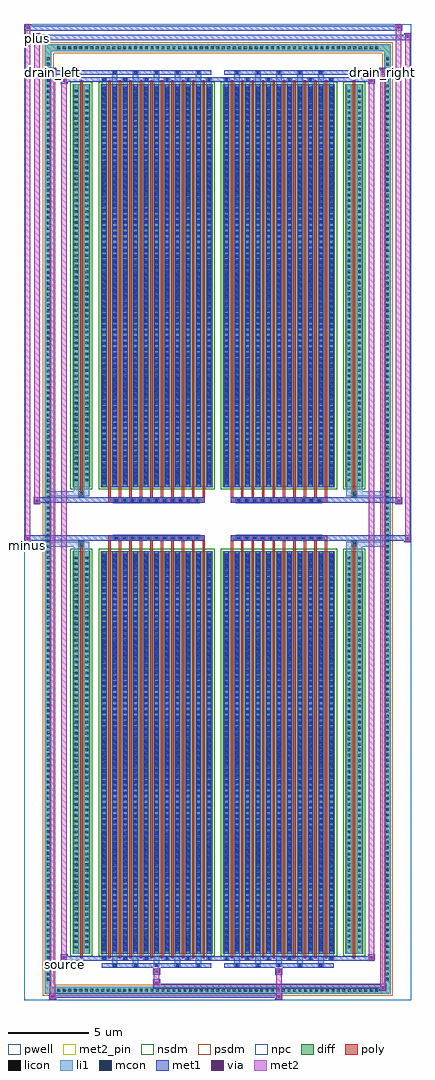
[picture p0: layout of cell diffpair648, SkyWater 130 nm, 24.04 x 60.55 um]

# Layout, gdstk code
import gdstk
lib = gdstk.Library(unit=1e-6, precision=5e-09)
def R(c, l, rs):  # rectangles x0, y0, x1, y1
    for r in rs: c.add(gdstk.rectangle(r[:2], r[2:], *l))
def A(c, l, x, y, w, h, nx, ny, dx, dy):  # array of equal rectangles
    R(c, l, [(x+i*dx, y+j*dy, x+i*dx+w, y+j*dy+h) for i in range(nx) for j in range(ny)])
def P(c, l, *ps):  # polygons
    for p in ps: c.add(gdstk.Polygon(p, *l))
pwell = (64, 44)
diff = (65, 20)
poly = (66, 20)
licon = (66, 44)
li1 = (67, 20)
mcon = (67, 44)
met1 = (68, 20)
via = (68, 44)
met2_pin = (69, 16)
met2 = (69, 20)
nsdm = (93, 44)
psdm = (94, 20)
npc = (95, 20)

diffpair648 = lib.new_cell('diffpair648')
R(diffpair648, pwell, [(-12,-29.84,12,30.71), (-9.32,-28.03,-0.01,-0.805), (0.01,-28.03,9.32,-0.805), (-9.32,0.805,-0.01,28.03), (0.01,0.805,9.32,28.03)])
A(diffpair648, diff, -10.065, -29.44, 0.41, 0.41, 59, 2, 0.34, 58.47)
A(diffpair648, diff, -10.73, -28.765, 0.41, 0.41, 1, 169, 0, 0.34)
A(diffpair648, diff, 10.32, -28.765, 0.41, 0.41, 1, 169, 0, 0.34)
R(diffpair648, diff, [(-10.065,-29.44,10.065,-29.03), (-10.73,-28.765,-10.32,28.765), (10.32,-28.765,10.73,28.765), (-9.01,-26.985,-7.91,-1.985), (-7.27,-26.985,-0.32,-1.985), (0.32,-26.985,7.27,-1.985), (7.91,-26.985,9.01,-1.985), (-9.01,1.985,-7.91,26.985), (-7.27,1.985,-0.32,26.985), (0.32,1.985,7.27,26.985), (7.91,1.985,9.01,26.985), (-10.065,29.03,10.065,29.44)])
P(diffpair648, diff, [(10.73,29.44),(-10.73,29.44),(-10.73,-29.03),(-10.32,-29.03),(-10.32,29.03),(10.32,29.03),(10.32,-29.03),(-10.32,-29.03),(-10.73,-29.03),(-10.73,-29.44),(10.73,-29.44)])
A(diffpair648, poly, -6.795, -27.235, 0.15, 25.5, 10, 2, 0.65, 28.97)
A(diffpair648, poly, 0.795, -27.235, 0.15, 25.5, 10, 2, 0.65, 28.97)
A(diffpair648, poly, -6.795, -1.735, 0.15, 0.4, 10, 2, 0.65, 3.07)
A(diffpair648, poly, 0.795, -1.735, 0.15, 0.4, 10, 2, 0.65, 3.07)
A(diffpair648, poly, -6.46, -1.335, 0.33, 0.33, 11, 2, 0.5, 2.34)
A(diffpair648, poly, 1.13, -1.335, 0.33, 0.33, 11, 2, 0.5, 2.34)
R(diffpair648, poly, [(-8.535,-27.235,-8.385,-1.735), (8.385,-27.235,8.535,-1.735), (-8.625,-1.735,-8.295,-1.405), (-8.625,-1.735,-8.295,-1.405), (8.295,-1.735,8.625,-1.405), (8.295,-1.735,8.625,-1.405), (-6.795,-1.335,-0.795,-1.005), (0.795,-1.335,6.795,-1.005), (-6.795,1.005,-0.795,1.335), (0.795,1.005,6.795,1.335), (-8.625,1.405,-8.295,1.735), (-8.625,1.405,-8.295,1.735), (8.295,1.405,8.625,1.735), (8.295,1.405,8.625,1.735), (-8.535,1.735,-8.385,27.235), (8.385,1.735,8.535,27.235)])
A(diffpair648, licon, -9.945, -29.32, 0.17, 0.17, 59, 2, 0.34, 58.47)
A(diffpair648, licon, -10.61, -28.645, 0.17, 0.17, 1, 169, 0, 0.34)
A(diffpair648, licon, 10.44, -28.645, 0.17, 0.17, 1, 169, 0, 0.34)
A(diffpair648, licon, -8.87, -26.64, 0.17, 0.17, 1, 72, 0, 0.34)
A(diffpair648, licon, -8.22, -26.64, 0.17, 0.17, 1, 72, 0, 0.34)
A(diffpair648, licon, -7.13, -26.64, 0.17, 0.17, 11, 72, 0.65, 0.34)
A(diffpair648, licon, 0.46, -26.64, 0.17, 0.17, 11, 72, 0.65, 0.34)
A(diffpair648, licon, 8.05, -26.64, 0.17, 0.17, 1, 72, 0, 0.34)
A(diffpair648, licon, 8.7, -26.64, 0.17, 0.17, 1, 72, 0, 0.34)
A(diffpair648, licon, -6.38, -1.255, 0.17, 0.17, 11, 2, 0.5, 2.34)
A(diffpair648, licon, 1.21, -1.255, 0.17, 0.17, 11, 2, 0.5, 2.34)
A(diffpair648, licon, -8.87, 2.33, 0.17, 0.17, 1, 72, 0, 0.34)
A(diffpair648, licon, -8.22, 2.33, 0.17, 0.17, 1, 72, 0, 0.34)
A(diffpair648, licon, -7.13, 2.33, 0.17, 0.17, 11, 72, 0.65, 0.34)
A(diffpair648, licon, 0.46, 2.33, 0.17, 0.17, 11, 72, 0.65, 0.34)
A(diffpair648, licon, 8.05, 2.33, 0.17, 0.17, 1, 72, 0, 0.34)
A(diffpair648, licon, 8.7, 2.33, 0.17, 0.17, 1, 72, 0, 0.34)
R(diffpair648, licon, [(-8.545,-1.655,-8.375,-1.485), (8.375,-1.655,8.545,-1.485), (-8.545,1.485,-8.375,1.655), (8.375,1.485,8.545,1.655)])
A(diffpair648, li1, -10.025, -29.4, 0.33, 0.33, 59, 2, 0.34, 58.47)
A(diffpair648, li1, -10.69, -28.725, 0.33, 0.33, 1, 169, 0, 0.34)
A(diffpair648, li1, 10.36, -28.725, 0.33, 0.33, 1, 169, 0, 0.34)
A(diffpair648, li1, -6.56, -27.79, 0.33, 0.805, 5, 2, 1.3, 54.775)
A(diffpair648, li1, -6.48, -27.79, 0.17, 0.17, 5, 2, 1.3, 55.41)
A(diffpair648, li1, 1.03, -27.79, 0.33, 0.805, 5, 2, 1.3, 54.775)
A(diffpair648, li1, 1.11, -27.79, 0.17, 0.17, 5, 2, 1.3, 55.41)
A(diffpair648, li1, -7.21, -27.36, 0.33, 0.375, 6, 2, 1.3, 54.345)
A(diffpair648, li1, -7.13, -27.36, 0.17, 0.17, 6, 2, 1.3, 54.55)
A(diffpair648, li1, 0.38, -27.36, 0.33, 0.375, 6, 2, 1.3, 54.345)
A(diffpair648, li1, 0.46, -27.36, 0.17, 0.17, 6, 2, 1.3, 54.55)
A(diffpair648, li1, -7.21, -26.985, 0.33, 25, 11, 2, 0.65, 28.97)
A(diffpair648, li1, 0.38, -26.985, 0.33, 25, 11, 2, 0.65, 28.97)
A(diffpair648, li1, -7.13, -26.81, 0.17, 0.17, 11, 69, 0.65, 0.36)
A(diffpair648, li1, -7.13, -26.81, 0.17, 24.65, 11, 2, 0.65, 28.97)
A(diffpair648, li1, 0.46, -26.81, 0.17, 0.17, 11, 69, 0.65, 0.36)
A(diffpair648, li1, 0.46, -26.81, 0.17, 24.65, 11, 2, 0.65, 28.97)
A(diffpair648, li1, -8.95, -26.72, 0.33, 0.33, 1, 72, 0, 0.34)
A(diffpair648, li1, -8.3, -26.72, 0.33, 0.33, 1, 72, 0, 0.34)
A(diffpair648, li1, -7.21, -26.72, 0.33, 0.33, 11, 72, 0.65, 0.34)
A(diffpair648, li1, 0.38, -26.72, 0.33, 0.33, 11, 72, 0.65, 0.34)
A(diffpair648, li1, 7.97, -26.72, 0.33, 0.33, 1, 72, 0, 0.34)
A(diffpair648, li1, 8.62, -26.72, 0.33, 0.33, 1, 72, 0, 0.34)
A(diffpair648, li1, -6.46, -1.335, 0.33, 0.33, 11, 2, 0.5, 2.34)
A(diffpair648, li1, 1.13, -1.335, 0.33, 0.33, 11, 2, 0.5, 2.34)
A(diffpair648, li1, -7.13, 2.16, 0.17, 0.17, 11, 69, 0.65, 0.36)
A(diffpair648, li1, 0.46, 2.16, 0.17, 0.17, 11, 69, 0.65, 0.36)
A(diffpair648, li1, -8.95, 2.25, 0.33, 0.33, 1, 72, 0, 0.34)
A(diffpair648, li1, -8.3, 2.25, 0.33, 0.33, 1, 72, 0, 0.34)
A(diffpair648, li1, -7.21, 2.25, 0.33, 0.33, 11, 72, 0.65, 0.34)
A(diffpair648, li1, 0.38, 2.25, 0.33, 0.33, 11, 72, 0.65, 0.34)
A(diffpair648, li1, 7.97, 2.25, 0.33, 0.33, 1, 72, 0, 0.34)
A(diffpair648, li1, 8.62, 2.25, 0.33, 0.33, 1, 72, 0, 0.34)
R(diffpair648, li1, [(-10.73,-29.44,-10.32,-29.03), (-10.73,-29.44,-10.32,-29.03), (-10.32,-29.44,10.32,-29.03), (10.32,-29.44,10.73,-29.03), (10.32,-29.44,10.73,-29.03), (-10.73,-29.03,-10.32,29.03), (10.32,-29.03,10.73,29.03), (-8.95,-26.985,-8.62,-1.985), (-8.3,-26.985,-7.97,-1.985), (7.97,-26.985,8.3,-1.985), (8.62,-26.985,8.95,-1.985), (-8.95,-1.985,-8.62,-1.405), (-8.3,-1.985,-7.97,-1.405), (7.97,-1.985,8.3,-1.405), (8.62,-1.985,8.95,-1.405), (-10.73,-1.735,-8.625,-1.405), (-8.95,-1.735,-8.625,-1.405), (-8.625,-1.735,-8.295,-1.405), (-8.295,-1.735,-7.97,-1.405), (7.97,-1.735,8.295,-1.405), (8.295,-1.735,8.625,-1.405), (8.295,-1.735,10.73,-1.405), (8.625,-1.735,8.95,-1.405), (-10.73,1.405,-8.625,1.735), (-8.95,1.405,-8.625,1.735), (-8.95,1.405,-8.62,1.985), (-8.625,1.405,-8.295,1.735), (-8.3,1.405,-7.97,1.985), (-8.295,1.405,-7.97,1.735), (7.97,1.405,8.295,1.735), (7.97,1.405,8.3,1.985), (8.295,1.405,8.625,1.735), (8.295,1.405,10.73,1.735), (8.62,1.405,8.95,1.985), (8.625,1.405,8.95,1.735), (-8.95,1.985,-8.62,26.985), (-8.3,1.985,-7.97,26.985), (7.97,1.985,8.3,26.985), (8.62,1.985,8.95,26.985), (-10.73,29.03,-10.32,29.44), (-10.73,29.03,-10.32,29.44), (-10.32,29.03,10.32,29.44), (10.32,29.03,10.73,29.44), (10.32,29.03,10.73,29.44)])
A(diffpair648, mcon, -6.48, -27.79, 0.17, 0.17, 5, 2, 1.3, 55.41)
A(diffpair648, mcon, 1.11, -27.79, 0.17, 0.17, 5, 2, 1.3, 55.41)
A(diffpair648, mcon, -7.13, -27.36, 0.17, 0.17, 6, 2, 1.3, 54.55)
A(diffpair648, mcon, 0.46, -27.36, 0.17, 0.17, 6, 2, 1.3, 54.55)
A(diffpair648, mcon, -7.13, -26.81, 0.17, 0.17, 11, 69, 0.65, 0.36)
A(diffpair648, mcon, 0.46, -26.81, 0.17, 0.17, 11, 69, 0.65, 0.36)
A(diffpair648, mcon, -6.38, -1.255, 0.17, 0.17, 11, 2, 0.5, 2.34)
A(diffpair648, mcon, 1.21, -1.255, 0.17, 0.17, 11, 2, 0.5, 2.34)
A(diffpair648, mcon, -7.13, 2.16, 0.17, 0.17, 11, 69, 0.65, 0.36)
A(diffpair648, mcon, 0.46, 2.16, 0.17, 0.17, 11, 69, 0.65, 0.36)
A(diffpair648, met1, -6.54, -27.85, 0.29, 0.29, 5, 2, 1.3, 55.41)
A(diffpair648, met1, 1.05, -27.85, 0.29, 0.29, 5, 2, 1.3, 55.41)
A(diffpair648, met1, -7.19, -27.42, 0.29, 0.29, 6, 2, 1.3, 54.55)
A(diffpair648, met1, 0.4, -27.42, 0.29, 0.29, 6, 2, 1.3, 54.55)
A(diffpair648, met1, -7.19, -26.985, 0.29, 25, 11, 2, 0.65, 28.97)
A(diffpair648, met1, 0.4, -26.985, 0.29, 25, 11, 2, 0.65, 28.97)
A(diffpair648, met1, -7.19, -26.87, 0.29, 0.29, 11, 69, 0.65, 0.36)
A(diffpair648, met1, 0.4, -26.87, 0.29, 0.29, 11, 69, 0.65, 0.36)
A(diffpair648, met1, -6.44, -1.315, 0.29, 0.29, 11, 2, 0.5, 2.34)
A(diffpair648, met1, 1.15, -1.315, 0.29, 0.29, 11, 2, 0.5, 2.34)
A(diffpair648, met1, -7.19, 2.1, 0.29, 0.29, 11, 69, 0.65, 0.36)
A(diffpair648, met1, 0.4, 2.1, 0.29, 0.29, 11, 69, 0.65, 0.36)
R(diffpair648, met1, [(-10.46,-29.84,-10.03,-29.41), (3.58,-29.84,4.01,-29.41), (-10.46,-29.7,4.01,-29.41), (10.03,-29.27,10.46,-28.84), (-4.01,-29.13,10.46,-28.84), (-4.01,-28.99,-3.58,-28.56), (-4.01,-28.28,-3.58,-27.85), (3.58,-28.28,4.01,-27.85), (-7.19,-27.85,-0.4,-27.56), (0.4,-27.85,7.19,-27.56), (-9.75,-27.42,-9.32,-26.99), (-9.75,-27.42,-7.19,-27.13), (-7.19,-27.42,-0.4,-27.13), (-0.4,-27.42,0.4,-27.13), (0.4,-27.42,7.19,-27.13), (7.19,-27.42,9.75,-27.13), (9.32,-27.42,9.75,-26.99), (-12,-1.435,-11.57,-1.005), (11.57,-1.435,12,-1.005), (-12,-1.335,-0.795,-1.005), (-6.795,-1.335,-0.795,-1.005), (0.795,-1.335,6.795,-1.005), (0.795,-1.335,12,-1.005), (-11.43,0.905,-11,1.335), (11,0.905,11.43,1.335), (-11.43,1.005,-6.795,1.335), (-6.795,1.005,-0.795,1.335), (0.795,1.005,6.795,1.335), (6.795,1.005,11.43,1.335), (-9.75,26.99,-9.32,27.42), (9.32,26.99,9.75,27.42), (-9.75,27.13,-7.19,27.42), (-7.19,27.13,-0.4,27.42), (-0.4,27.13,0.4,27.42), (0.4,27.13,7.19,27.42), (7.19,27.13,9.75,27.42), (-10.46,27.56,-10.03,27.99), (-10.46,27.56,-7.19,27.85), (-7.19,27.56,-0.4,27.85), (0.4,27.56,7.19,27.85), (7.19,27.56,10.46,27.85), (10.03,27.56,10.46,27.99), (-11.43,29.71,-11,30.14), (-11.43,29.71,-9.32,30.04), (-9.32,29.71,9.32,30.04), (9.32,29.71,12,30.04), (11.57,29.71,12,30.14), (-12,30.28,-11.57,30.71), (-12,30.28,-9.32,30.61), (-9.32,30.28,9.32,30.61), (9.32,30.28,11.43,30.61), (11,30.28,11.43,30.71)])
R(diffpair648, via, [(-10.32,-29.7,-10.17,-29.55), (3.72,-29.7,3.87,-29.55), (10.17,-29.13,10.32,-28.98), (-3.87,-28.85,-3.72,-28.7), (-3.87,-28.14,-3.72,-27.99), (3.72,-28.14,3.87,-27.99), (-9.61,-27.28,-9.46,-27.13), (9.46,-27.28,9.61,-27.13), (-11.86,-1.295,-11.71,-1.145), (11.71,-1.295,11.86,-1.145), (-11.29,1.045,-11.14,1.195), (11.14,1.045,11.29,1.195), (-9.61,27.13,-9.46,27.28), (9.46,27.13,9.61,27.28), (-10.32,27.7,-10.17,27.85), (10.17,27.7,10.32,27.85), (-11.29,29.85,-11.14,30), (11.71,29.85,11.86,30), (-11.86,30.42,-11.71,30.57), (11.14,30.42,11.29,30.57)])
R(diffpair648, met2_pin, [(-9.785,-27.87,-9.285,-27.37), (-12.035,-1.885,-11.535,-1.385), (-10.495,27.44,-9.995,27.94), (9.995,27.44,10.495,27.94), (-11.465,29.59,-10.965,30.09)])
R(diffpair648, met2, [(-10.41,-29.79,-10.08,-29.46), (-10.41,-29.79,-10.08,27.94), (3.63,-29.79,3.96,-29.46), (3.63,-29.46,3.96,-28.23), (10.08,-29.22,10.41,-28.89), (10.08,-29.22,10.41,27.94), (-3.96,-28.94,-3.63,-28.61), (-3.96,-28.61,-3.63,-28.23), (-3.96,-28.23,-3.63,-27.9), (3.63,-28.23,3.96,-27.9), (-9.7,-27.37,-9.37,-27.04), (-9.7,-27.37,-9.37,27.37), (9.37,-27.37,9.7,-27.04), (9.37,-27.37,9.7,27.37), (-11.95,-1.385,-11.62,-1.055), (-11.95,-1.385,-11.62,30.66), (11.62,-1.385,11.95,-1.055), (11.62,-1.385,11.95,30.09), (-11.38,0.955,-11.05,1.285), (-11.38,0.955,-11.05,30.09), (11.05,0.955,11.38,1.285), (11.05,0.955,11.38,30.66), (-9.7,27.04,-9.37,27.37), (9.37,27.04,9.7,27.37), (-10.41,27.61,-10.08,27.94), (10.08,27.61,10.41,27.94), (-11.38,29.76,-11.05,30.09), (11.62,29.76,11.95,30.09), (-11.95,30.33,-11.62,30.66), (11.05,30.33,11.38,30.66)])
P(diffpair648, met2, [(11.95,-1.385),(11.95,-1.385),(11.95,-1.055),(11.95,-1.055)],
  [(11.95,29.76),(11.95,29.76),(11.95,30.09),(11.95,30.09)],
  [(-11.62,-1.385),(-11.62,-1.385),(-11.62,-1.055),(-11.62,-1.055)],
  [(-11.62,30.33),(-11.62,30.33),(-11.62,30.66),(-11.62,30.66)],
  [(11.38,0.955),(11.38,0.955),(11.38,1.285),(11.38,1.285)],
  [(11.38,30.33),(11.38,30.33),(11.38,30.66),(11.38,30.66)],
  [(-11.05,0.955),(-11.05,0.955),(-11.05,1.285),(-11.05,1.285)],
  [(-11.05,29.76),(-11.05,29.76),(-11.05,30.09),(-11.05,30.09)],
  [(-10.08,-29.79),(-10.08,-29.79),(-10.08,-29.46),(-10.08,-29.46)],
  [(-10.08,27.61),(-10.08,27.61),(-10.08,27.94),(-10.08,27.94)],
  [(10.41,-29.22),(10.41,-29.22),(10.41,-28.89),(10.41,-28.89)],
  [(10.41,27.61),(10.41,27.61),(10.41,27.94),(10.41,27.94)],
  [(-9.37,-27.37),(-9.37,-27.37),(-9.37,-27.04),(-9.37,-27.04)],
  [(-9.37,27.04),(-9.37,27.04),(-9.37,27.37),(-9.37,27.37)],
  [(9.7,-27.37),(9.7,-27.37),(9.7,-27.04),(9.7,-27.04)],
  [(9.7,27.04),(9.7,27.04),(9.7,27.37),(9.7,27.37)])
R(diffpair648, nsdm, [(-9.14,-27.115,-7.78,-1.855), (-7.4,-27.115,-0.19,-1.855), (0.19,-27.115,7.4,-1.855), (7.78,-27.115,9.14,-1.855), (-9.14,1.855,-7.78,27.115), (-7.4,1.855,-0.19,27.115), (0.19,1.855,7.4,27.115), (7.78,1.855,9.14,27.115)])
P(diffpair648, psdm, [(10.86,29.57),(-10.86,29.57),(-10.86,-28.9),(-10.19,-28.9),(-10.19,28.9),(10.19,28.9),(10.19,-28.9),(-10.19,-28.9),(-10.86,-28.9),(-10.86,-29.57),(10.86,-29.57)])
A(diffpair648, npc, -6.48, -1.355, 0.37, 0.37, 11, 2, 0.5, 2.34)
A(diffpair648, npc, 1.11, -1.355, 0.37, 0.37, 11, 2, 0.5, 2.34)
R(diffpair648, npc, [(-8.645,-1.755,-8.275,-1.385), (8.275,-1.755,8.645,-1.385), (-6.48,-1.355,-5.61,-0.985), (-6.48,-1.355,-5.61,-0.985), (-5.98,-1.355,-5.11,-0.985), (-5.98,-1.355,-5.11,-0.985), (-5.48,-1.355,-4.61,-0.985), (-5.48,-1.355,-4.61,-0.985), (-4.98,-1.355,-4.11,-0.985), (-4.98,-1.355,-4.11,-0.985), (-4.48,-1.355,-3.61,-0.985), (-4.48,-1.355,-3.61,-0.985), (-3.98,-1.355,-3.11,-0.985), (-3.98,-1.355,-3.11,-0.985), (-3.48,-1.355,-2.61,-0.985), (-3.48,-1.355,-2.61,-0.985), (-2.98,-1.355,-2.11,-0.985), (-2.98,-1.355,-2.11,-0.985), (-2.48,-1.355,-1.61,-0.985), (-2.48,-1.355,-1.61,-0.985), (-1.98,-1.355,-1.11,-0.985), (-1.98,-1.355,-1.11,-0.985), (1.11,-1.355,1.98,-0.985), (1.11,-1.355,1.98,-0.985), (1.61,-1.355,2.48,-0.985), (1.61,-1.355,2.48,-0.985), (2.11,-1.355,2.98,-0.985), (2.11,-1.355,2.98,-0.985), (2.61,-1.355,3.48,-0.985), (2.61,-1.355,3.48,-0.985), (3.11,-1.355,3.98,-0.985), (3.11,-1.355,3.98,-0.985), (3.61,-1.355,4.48,-0.985), (3.61,-1.355,4.48,-0.985), (4.11,-1.355,4.98,-0.985), (4.11,-1.355,4.98,-0.985), (4.61,-1.355,5.48,-0.985), (4.61,-1.355,5.48,-0.985), (5.11,-1.355,5.98,-0.985), (5.11,-1.355,5.98,-0.985), (5.61,-1.355,6.48,-0.985), (5.61,-1.355,6.48,-0.985), (-6.48,0.985,-5.61,1.355), (-6.48,0.985,-5.61,1.355), (-5.98,0.985,-5.11,1.355), (-5.98,0.985,-5.11,1.355), (-5.48,0.985,-4.61,1.355), (-5.48,0.985,-4.61,1.355), (-4.98,0.985,-4.11,1.355), (-4.98,0.985,-4.11,1.355), (-4.48,0.985,-3.61,1.355), (-4.48,0.985,-3.61,1.355), (-3.98,0.985,-3.11,1.355), (-3.98,0.985,-3.11,1.355), (-3.48,0.985,-2.61,1.355), (-3.48,0.985,-2.61,1.355), (-2.98,0.985,-2.11,1.355), (-2.98,0.985,-2.11,1.355), (-2.48,0.985,-1.61,1.355), (-2.48,0.985,-1.61,1.355), (-1.98,0.985,-1.11,1.355), (-1.98,0.985,-1.11,1.355), (1.11,0.985,1.98,1.355), (1.11,0.985,1.98,1.355), (1.61,0.985,2.48,1.355), (1.61,0.985,2.48,1.355), (2.11,0.985,2.98,1.355), (2.11,0.985,2.98,1.355), (2.61,0.985,3.48,1.355), (2.61,0.985,3.48,1.355), (3.11,0.985,3.98,1.355), (3.11,0.985,3.98,1.355), (3.61,0.985,4.48,1.355), (3.61,0.985,4.48,1.355), (4.11,0.985,4.98,1.355), (4.11,0.985,4.98,1.355), (4.61,0.985,5.48,1.355), (4.61,0.985,5.48,1.355), (5.11,0.985,5.98,1.355), (5.11,0.985,5.98,1.355), (5.61,0.985,6.48,1.355), (5.61,0.985,6.48,1.355), (-8.645,1.385,-8.275,1.755), (8.275,1.385,8.645,1.755)])
diffpair648.add(gdstk.Label('minus', (-11.785,-1.635), layer=69, texttype=5))
diffpair648.add(gdstk.Label('drain_right', (10.245,27.69), layer=69, texttype=5))
diffpair648.add(gdstk.Label('drain_left', (-10.245,27.69), layer=69, texttype=5))
diffpair648.add(gdstk.Label('source', (-9.535,-27.62), layer=69, texttype=5))
diffpair648.add(gdstk.Label('plus', (-11.215,29.84), layer=69, texttype=5))

lib.write_gds('diffpair648.gds')
